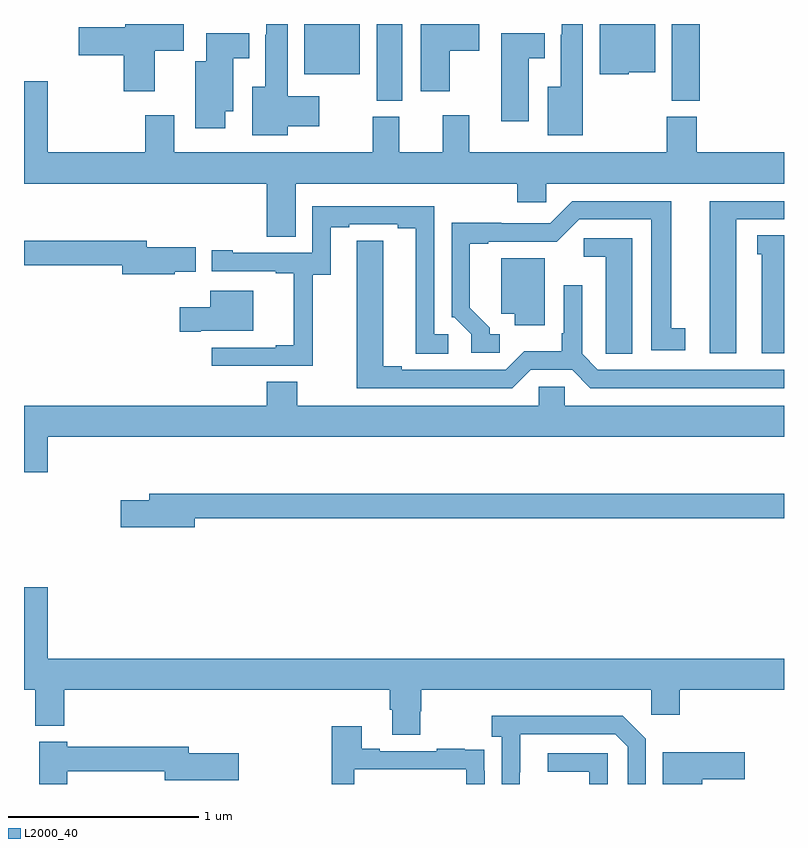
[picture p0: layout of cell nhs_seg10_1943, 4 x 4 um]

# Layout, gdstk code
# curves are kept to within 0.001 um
import gdstk
lib = gdstk.Library(unit=1e-6, precision=1e-09)
def R(c, l, rs):  # rectangles x0, y0, x1, y1
    for r in rs: c.add(gdstk.rectangle(r[:2], r[2:], *l))
def P(c, l, *ps):  # polygons
    for p in ps: c.add(gdstk.Polygon(p, *l))
L2000_40 = (2000, 40)

nhs_seg10_1943 = lib.new_cell('nhs_seg10_1943')
R(nhs_seg10_1943, L2000_40, [(214.856,1290.097,214.99,1290.5), (216.41,1290.097,216.557,1290.5), (214.475,1290.236,214.768,1290.5)])
P(nhs_seg10_1943, L2000_40, [(215.242,1290.358),(215.395,1290.358),(215.395,1290.5),(215.087,1290.5),(215.087,1290.147),(215.242,1290.147)],
  [(216.183,1290.245),(216.322,1290.245),(216.322,1290.5),(216.029,1290.5),(216.029,1290.236),(216.183,1290.236)],
  [(214.387,1289.963),(214.555,1289.963),(214.555,1290.121),(214.387,1290.121),(214.387,1290.5),(214.275,1290.5),(214.275,1290.443),(214.271,1290.443),(214.271,1290.169),(214.202,1290.169),(214.202,1289.915),(214.387,1289.915)],
  [(213.688,1290.358),(213.841,1290.358),(213.841,1290.5),(213.533,1290.5),(213.533,1290.482),(213.288,1290.482),(213.288,1290.335),(213.526,1290.335),(213.526,1290.147),(213.688,1290.147)],
  [(215.941,1290.5),(215.829,1290.5),(215.829,1290.443),(215.825,1290.443),(215.825,1290.169),(215.756,1290.169),(215.756,1289.915),(215.941,1289.915)],
  [(215.656,1290.32),(215.74,1290.32),(215.74,1290.451),(215.513,1290.451),(215.513,1289.988),(215.656,1289.988)],
  [(214.06,1290.041),(214.102,1290.041),(214.102,1290.32),(214.186,1290.32),(214.186,1290.451),(213.959,1290.451),(213.959,1290.304),(213.902,1290.304),(213.902,1289.952),(214.06,1289.952)],
  [(214.429,1289.66),(215.597,1289.66),(215.597,1289.562),(215.748,1289.562),(215.748,1289.66),(217,1289.66),(217,1289.824),(216.542,1289.824),(216.542,1290.012),(216.382,1290.012),(216.382,1289.824),(215.344,1289.824),(215.344,1290.019),(215.204,1290.019),(215.204,1289.824),(214.975,1289.824),(214.975,1290.012),(214.835,1290.012),(214.835,1289.824),(213.79,1289.824),(213.79,1290.019),(213.638,1290.019),(213.638,1289.824),(213.124,1289.824),(213.124,1290.199),(213,1290.199),(213,1289.66),(214.277,1289.66),(214.277,1289.38),(214.429,1289.38)],
  [(215.503,1288.866),(215.452,1288.866),(215.452,1288.901),(215.347,1289.006),(215.347,1289.343),(215.443,1289.343),(215.443,1289.355),(215.805,1289.355),(215.922,1289.472),(216.302,1289.472),(216.302,1288.782),(216.481,1288.782),(216.481,1288.898),(216.406,1288.898),(216.406,1289.568),(215.886,1289.568),(215.769,1289.451),(215.513,1289.451),(215.513,1289.453),(215.25,1289.453),(215.25,1288.956),(215.265,1288.956),(215.355,1288.866),(215.355,1288.77),(215.503,1288.77)],
  [(216.748,1289.472),(217,1289.472),(217,1289.568),(216.608,1289.568),(216.608,1288.767),(216.748,1288.767)],
  [(214.521,1289.179),(214.615,1289.179),(214.615,1289.43),(214.711,1289.43),(214.711,1289.445),(214.967,1289.445),(214.967,1289.425),(215.063,1289.425),(215.063,1288.765),(215.233,1288.765),(215.233,1288.866),(215.16,1288.866),(215.16,1289.541),(214.518,1289.541),(214.518,1289.295),(214.099,1289.295),(214.099,1289.308),(213.989,1289.308),(213.989,1289.199),(214.325,1289.199),(214.325,1289.187),(214.421,1289.187),(214.421,1288.81),(214.325,1288.81),(214.325,1288.797),(213.987,1288.797),(213.987,1288.701),(214.521,1288.701)],
  [(217,1289.387),(216.86,1289.387),(216.86,1289.289),(216.884,1289.289),(216.884,1288.767),(217,1288.767)],
  [(216.202,1289.373),(215.946,1289.373),(215.946,1289.276),(216.062,1289.276),(216.062,1288.873),(216.063,1288.873),(216.063,1288.765),(216.202,1288.765)],
  [(215.667,1288.68),(215.885,1288.68),(215.981,1288.584),(217,1288.584),(217,1288.68),(216.021,1288.68),(215.937,1288.764),(215.937,1289.125),(215.841,1289.125),(215.841,1288.873),(215.829,1288.873),(215.829,1288.777),(215.632,1288.777),(215.535,1288.68),(214.987,1288.68),(214.987,1288.7),(214.891,1288.7),(214.891,1289.36),(214.752,1289.36),(214.751,1288.584),(215.571,1288.584)],
  [(213.794,1289.195),(213.904,1289.195),(213.904,1289.325),(213.646,1289.325),(213.646,1289.359),(213,1289.359),(213,1289.23),(213.518,1289.23),(213.518,1289.183),(213.794,1289.183)],
  [(215.74,1289.266),(215.513,1289.266),(215.513,1288.976),(215.582,1288.976),(215.582,1288.914),(215.74,1288.914)],
  [(213.931,1288.886),(214.207,1288.886),(214.207,1289.095),(213.98,1289.095),(213.98,1289.008),(213.819,1289.008),(213.819,1288.879),(213.931,1288.879)],
  [(213.124,1288.328),(217,1288.328),(217,1288.492),(215.847,1288.492),(215.847,1288.59),(215.709,1288.59),(215.709,1288.492),(214.437,1288.492),(214.437,1288.616),(214.277,1288.616),(214.277,1288.492),(213,1288.492),(213,1288.14),(213.124,1288.14)],
  [(213.898,1287.898),(217,1287.898),(217,1288.027),(213.659,1288.027),(213.659,1287.993),(213.51,1287.993),(213.51,1287.851),(213.898,1287.851)],
  [(215.085,1286.883),(215.09,1286.883),(215.09,1286.996),(216.3,1286.996),(216.3,1286.865),(216.452,1286.865),(216.452,1286.996),(217,1286.996),(217,1287.16),(213.124,1287.16),(213.124,1287.535),(213,1287.535),(213,1286.996),(213.059,1286.996),(213.059,1286.807),(213.212,1286.807),(213.212,1286.996),(214.925,1286.996),(214.925,1286.89),(214.937,1286.89),(214.937,1286.758),(215.085,1286.758)],
  [(215.61,1286.563),(215.611,1286.763),(216.111,1286.763),(216.177,1286.697),(216.177,1286.5),(216.273,1286.5),(216.273,1286.739),(216.152,1286.86),(215.463,1286.86),(215.463,1286.75),(215.514,1286.75),(215.514,1286.5),(215.61,1286.5)],
  [(214.737,1286.577),(215.328,1286.577),(215.328,1286.5),(215.424,1286.5),(215.424,1286.57),(215.423,1286.57),(215.423,1286.679),(215.321,1286.679),(215.321,1286.686),(215.173,1286.686),(215.173,1286.673),(214.873,1286.673),(214.873,1286.686),(214.777,1286.686),(214.777,1286.803),(214.621,1286.803),(214.621,1286.5),(214.737,1286.5)],
  [(213.227,1286.566),(213.74,1286.566),(213.74,1286.519),(214.129,1286.519),(214.129,1286.661),(213.868,1286.661),(213.868,1286.695),(213.227,1286.695),(213.227,1286.722),(213.08,1286.722),(213.08,1286.5),(213.227,1286.5)],
  [(216.569,1286.525),(216.793,1286.525),(216.793,1286.667),(216.362,1286.667),(216.362,1286.5),(216.569,1286.5)],
  [(216.072,1286.661),(215.757,1286.661),(215.757,1286.565),(215.976,1286.565),(215.976,1286.5),(216.072,1286.5)])

lib.write_gds('nhs_seg10_1943.gds')
